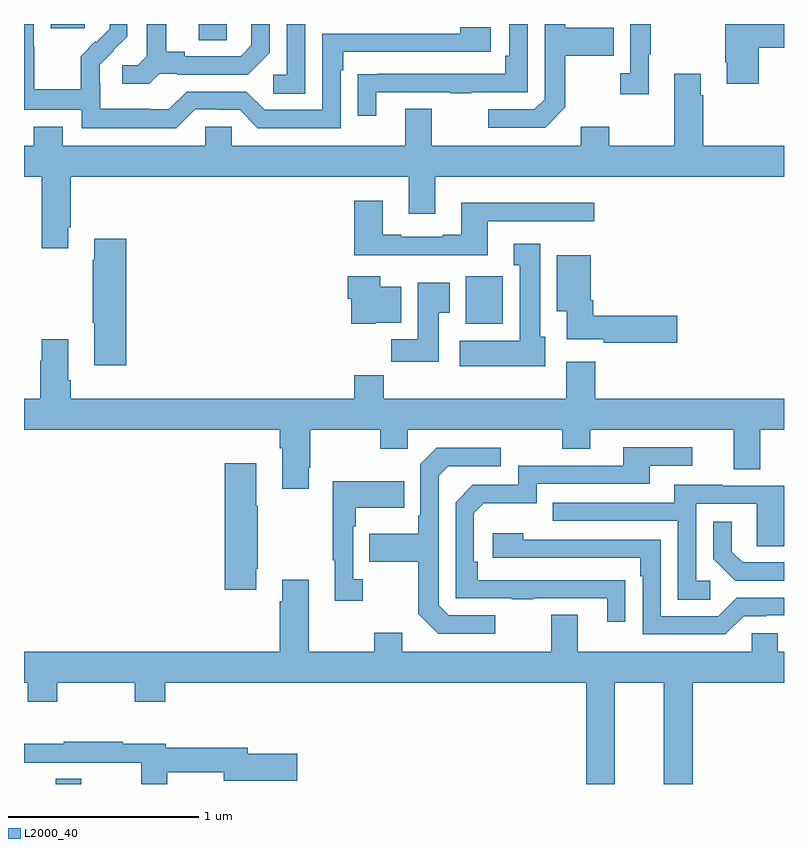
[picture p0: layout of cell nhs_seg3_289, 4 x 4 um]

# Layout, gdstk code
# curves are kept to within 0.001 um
import gdstk
lib = gdstk.Library(unit=1e-6, precision=1e-09)
def R(c, l, rs):  # rectangles x0, y0, x1, y1
    for r in rs: c.add(gdstk.rectangle(r[:2], r[2:], *l))
def P(c, l, *ps):  # polygons
    for p in ps: c.add(gdstk.Polygon(p, *l))
L2000_40 = (2000, 40)

nhs_seg3_289 = lib.new_cell('nhs_seg3_289')
R(nhs_seg3_289, L2000_40, [(125.168,684.4,125.302,684.428), (127.325,686.822,127.521,687.073), (125.921,688.315,126.066,688.4), (125.141,688.377,125.32,688.4)])
P(nhs_seg3_289, L2000_40, [(125.712,688.137),(125.806,688.137),(125.806,688.134),(126.178,688.134),(126.294,688.25),(126.294,688.4),(126.197,688.4),(126.197,688.287),(126.14,688.23),(125.845,688.23),(125.845,688.253),(125.749,688.253),(125.749,688.4),(125.645,688.4),(125.645,688.229),(125.598,688.182),(125.517,688.182),(125.517,688.085),(125.66,688.085)],
  [(125.901,687.951),(126.017,687.951),(126.017,687.948),(126.135,687.948),(126.231,687.852),(126.666,687.852),(126.666,688.157),(126.679,688.157),(126.679,688.254),(127.456,688.254),(127.456,688.384),(127.295,688.384),(127.295,688.35),(126.57,688.35),(126.57,687.948),(126.267,687.948),(126.171,688.044),(125.856,688.044),(125.763,687.951),(125.663,687.951),(125.663,687.955),(125.4,687.955),(125.4,688.089),(125.398,688.089),(125.398,688.186),(125.544,688.334),(125.544,688.4),(125.45,688.4),(125.45,688.376),(125.379,688.305),(125.376,688.308),(125.299,688.231),(125.299,688.057),(125.055,688.057),(125.055,688.28),(125.052,688.28),(125.052,688.4),(125,688.4),(125,687.948),(125.304,687.948),(125.304,687.851),(125.801,687.851)],
  [(126.853,688.041),(127.243,688.041),(127.243,688.036),(127.355,688.036),(127.355,688.041),(127.65,688.041),(127.65,688.4),(127.554,688.4),(127.554,688.234),(127.534,688.234),(127.534,688.137),(126.859,688.137),(126.859,688.136),(126.757,688.136),(126.757,687.918),(126.853,687.918)],
  [(126.48,688.4),(126.384,688.4),(126.384,688.134),(126.312,688.134),(126.312,688.033),(126.48,688.033)],
  [(128.867,688.276),(129,688.276),(129,688.4),(128.692,688.4),(128.692,688.198),(128.699,688.198),(128.699,688.086),(128.867,688.086)],
  [(127.849,687.961),(127.849,688.234),(128.105,688.234),(128.105,688.381),(127.849,688.381),(127.849,688.4),(127.74,688.4),(127.74,688.005),(127.686,687.951),(127.443,687.951),(127.443,687.855),(127.743,687.855)],
  [(128.287,688.241),(128.299,688.241),(128.299,688.4),(128.19,688.4),(128.19,688.142),(128.139,688.142),(128.139,688.029),(128.287,688.029)],
  [(125.233,687.331),(125.246,687.331),(125.246,687.596),(127.025,687.596),(127.025,687.402),(127.165,687.402),(127.165,687.596),(129,687.596),(129,687.76),(128.576,687.76),(128.576,688.025),(128.563,688.025),(128.563,688.138),(128.423,688.138),(128.423,687.76),(128.079,687.76),(128.079,687.859),(127.931,687.859),(127.931,687.76),(127.147,687.76),(127.147,687.955),(127.007,687.955),(127.007,687.76),(126.093,687.76),(126.093,687.858),(125.955,687.858),(125.955,687.76),(125.203,687.76),(125.203,687.859),(125.051,687.859),(125.051,687.76),(125,687.76),(125,687.596),(125.093,687.596),(125.093,687.219),(125.233,687.219)],
  [(127.441,687.363),(128.002,687.363),(128.002,687.46),(127.301,687.46),(127.301,687.292),(127.205,687.292),(127.205,687.279),(126.985,687.279),(126.985,687.292),(126.889,687.292),(126.889,687.469),(126.737,687.469),(126.737,687.182),(127.441,687.182)],
  [(125.537,687.271),(125.369,687.271),(125.369,687.158),(125.362,687.158),(125.362,686.827),(125.369,686.827),(125.369,686.604),(125.537,686.604)],
  [(127.744,686.754),(127.717,686.754),(127.717,687.244),(127.577,687.244),(127.577,687.131),(127.61,687.131),(127.61,686.734),(127.293,686.734),(127.293,686.6),(127.744,686.6)],
  [(128.437,686.864),(127.997,686.864),(127.997,686.947),(127.984,686.947),(127.984,687.184),(127.805,687.184),(127.805,686.888),(127.856,686.888),(127.856,686.741),(128.052,686.741),(128.052,686.722),(128.437,686.722)],
  [(126.852,686.828),(126.985,686.828),(126.985,687.016),(126.874,687.016),(126.874,687.073),(126.704,687.073),(126.704,686.955),(126.722,686.955),(126.722,686.822),(126.852,686.822)],
  [(127.183,686.881),(127.24,686.881),(127.24,687.037),(127.073,687.037),(127.073,686.74),(126.934,686.74),(126.934,686.622),(127.183,686.622)],
  [(126.499,686.065),(126.507,686.065),(126.507,686.264),(126.874,686.264),(126.874,686.165),(127.02,686.165),(127.02,686.264),(127.834,686.264),(127.834,686.165),(127.981,686.165),(127.981,686.264),(128.735,686.264),(128.735,686.056),(128.875,686.056),(128.875,686.264),(129,686.264),(129,686.428),(128.006,686.428),(128.006,686.623),(127.853,686.623),(127.853,686.428),(126.893,686.428),(126.893,686.552),(126.737,686.552),(126.737,686.428),(125.246,686.428),(125.246,686.524),(125.233,686.524),(125.233,686.74),(125.093,686.74),(125.093,686.627),(125.086,686.627),(125.086,686.428),(125,686.428),(125,686.264),(126.347,686.264),(126.347,686.168),(126.359,686.168),(126.359,685.953),(126.499,685.953)],
  [(128.165,685.472),(127.388,685.473),(127.388,685.57),(127.368,685.57),(127.368,685.824),(127.421,685.877),(127.698,685.877),(127.698,685.98),(128.293,685.98),(128.293,686.076),(128.518,686.076),(128.518,686.172),(128.153,686.172),(128.153,686.076),(127.602,686.076),(127.602,685.974),(127.362,685.974),(127.272,685.884),(127.272,685.377),(127.567,685.377),(127.567,685.372),(127.679,685.372),(127.679,685.377),(128.069,685.377),(128.069,685.254),(128.165,685.254)],
  [(127.48,685.287),(127.236,685.287),(127.182,685.341),(127.182,686.022),(127.233,686.073),(127.51,686.073),(127.51,686.169),(127.173,686.169),(127.086,686.082),(127.086,685.813),(127.074,685.813),(127.074,685.717),(126.817,685.717),(126.817,685.57),(127.074,685.57),(127.074,685.297),(127.179,685.191),(127.48,685.191)],
  [(126.223,685.534),(126.231,685.534),(126.231,685.865),(126.223,685.865),(126.223,686.089),(126.056,686.089),(126.056,685.422),(126.223,685.422)],
  [(126.784,685.478),(126.732,685.478),(126.732,685.757),(126.745,685.757),(126.745,685.853),(127.001,685.853),(127.001,685.993),(126.624,685.993),(126.624,685.577),(126.635,685.577),(126.635,685.365),(126.784,685.365)],
  [(128.611,685.47),(128.538,685.47),(128.538,685.875),(128.856,685.875),(128.856,685.651),(129,685.651),(129,685.971),(128.677,685.971),(128.677,685.975),(128.423,685.975),(128.423,685.881),(127.783,685.881),(127.783,685.785),(128.442,685.785),(128.442,685.369),(128.611,685.369)],
  [(129,685.566),(128.782,685.566),(128.725,685.623),(128.725,685.78),(128.628,685.78),(128.628,685.586),(128.744,685.47),(129,685.47)],
  [(128.787,685.284),(128.906,685.284),(128.906,685.287),(129,685.287),(129,685.38),(128.751,685.38),(128.655,685.284),(128.352,685.284),(128.352,685.686),(127.628,685.686),(127.628,685.72),(127.467,685.72),(127.467,685.59),(128.243,685.59),(128.243,685.493),(128.256,685.493),(128.256,685.188),(128.691,685.188)],
  [(128.11,684.932),(128.366,684.932),(128.366,684.4),(128.519,684.4),(128.519,684.932),(129,684.932),(129,685.096),(128.967,685.096),(128.967,685.194),(128.829,685.194),(128.829,685.096),(127.915,685.096),(127.915,685.291),(127.775,685.291),(127.775,685.096),(126.991,685.096),(126.991,685.195),(126.844,685.195),(126.844,685.096),(126.499,685.096),(126.499,685.474),(126.359,685.474),(126.359,685.361),(126.347,685.361),(126.347,685.096),(125,685.096),(125,684.932),(125.02,684.932),(125.02,684.833),(125.175,684.833),(125.175,684.932),(125.584,684.932),(125.584,684.833),(125.744,684.833),(125.744,684.932),(127.958,684.932),(127.958,684.4),(128.11,684.4)],
  [(125.754,684.463),(126.05,684.463),(126.05,684.416),(126.439,684.416),(126.439,684.558),(126.178,684.558),(126.178,684.592),(125.746,684.592),(125.746,684.612),(125.519,684.612),(125.519,684.622),(125.209,684.622),(125.209,684.612),(125,684.612),(125,684.512),(125.072,684.512),(125.072,684.513),(125.406,684.513),(125.406,684.512),(125.616,684.512),(125.616,684.4),(125.754,684.4)])

lib.write_gds('nhs_seg3_289.gds')
